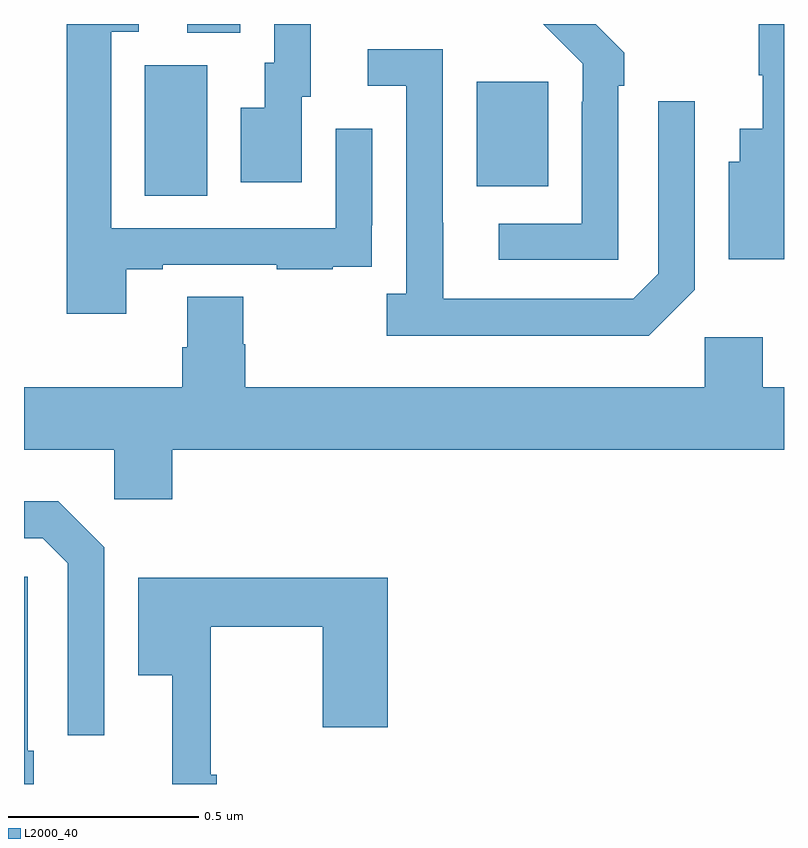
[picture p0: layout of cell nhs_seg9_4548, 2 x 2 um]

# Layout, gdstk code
import gdstk
lib = gdstk.Library(unit=1e-6, precision=1e-09)
def R(c, l, rs):  # rectangles x0, y0, x1, y1
    for r in rs: c.add(gdstk.rectangle(r[:2], r[2:], *l))
def P(c, l, *ps):  # polygons
    for p in ps: c.add(gdstk.Polygon(p, *l))
L2000_40 = (2000, 40)

nhs_seg9_4548 = lib.new_cell('nhs_seg9_4548')
R(nhs_seg9_4548, L2000_40, [(167.318,1237.048,167.482,1237.392), (168.191,1237.073,168.379,1237.348), (167.429,1237.477,167.569,1237.5)])
P(nhs_seg9_4548, L2000_40, [(169,1237.5),(168.933,1237.5),(168.933,1237.365),(168.944,1237.365),(168.944,1237.225),(168.884,1237.225),(168.884,1237.138),(168.854,1237.138),(168.854,1236.881),(169,1236.881)],
  [(168.564,1237.337),(168.579,1237.337),(168.579,1237.425),(168.504,1237.5),(168.367,1237.5),(168.471,1237.395),(168.471,1237.295),(168.468,1237.295),(168.468,1236.975),(168.249,1236.975),(168.249,1236.879),(168.564,1236.879)],
  [(167.731,1237.308),(167.755,1237.308),(167.755,1237.5),(167.658,1237.5),(167.658,1237.398),(167.633,1237.398),(167.633,1237.279),(167.57,1237.279),(167.57,1237.083),(167.731,1237.083)],
  [(167.269,1236.855),(167.365,1236.855),(167.365,1236.867),(167.665,1236.867),(167.665,1236.855),(167.813,1236.855),(167.813,1236.861),(167.915,1236.861),(167.915,1236.97),(167.916,1236.97),(167.916,1237.225),(167.82,1237.225),(167.82,1236.963),(167.229,1236.963),(167.229,1237.479),(167.302,1237.479),(167.302,1237.5),(167.113,1237.5),(167.113,1236.738),(167.269,1236.738)],
  [(168.765,1236.801),(168.765,1237.297),(168.669,1237.297),(168.669,1236.843),(168.603,1236.777),(168.103,1236.777),(168.103,1236.977),(168.102,1236.977),(168.102,1237.434),(167.904,1237.434),(167.904,1237.338),(168.006,1237.338),(168.006,1236.79),(167.955,1236.79),(167.955,1236.68),(168.644,1236.68)],
  [(167.39,1236.38),(169,1236.38),(169,1236.544),(168.944,1236.544),(168.944,1236.676),(168.792,1236.676),(168.792,1236.544),(167.582,1236.544),(167.582,1236.657),(167.577,1236.657),(167.577,1236.782),(167.429,1236.782),(167.429,1236.65),(167.417,1236.65),(167.417,1236.544),(167,1236.544),(167,1236.38),(167.238,1236.38),(167.238,1236.249),(167.39,1236.249)],
  [(167.211,1236.123),(167.09,1236.244),(167,1236.244),(167,1236.147),(167.049,1236.147),(167.115,1236.081),(167.115,1235.628),(167.211,1235.628)],
  [(167.025,1235.587),(167.01,1235.587),(167.01,1236.045),(167,1236.045),(167,1235.5),(167.025,1235.5)],
  [(167.507,1235.525),(167.492,1235.525),(167.492,1235.914),(167.786,1235.914),(167.786,1235.649),(167.957,1235.649),(167.957,1236.043),(167.3,1236.043),(167.3,1235.786),(167.39,1235.786),(167.39,1235.5),(167.507,1235.5)])

lib.write_gds('nhs_seg9_4548.gds')
